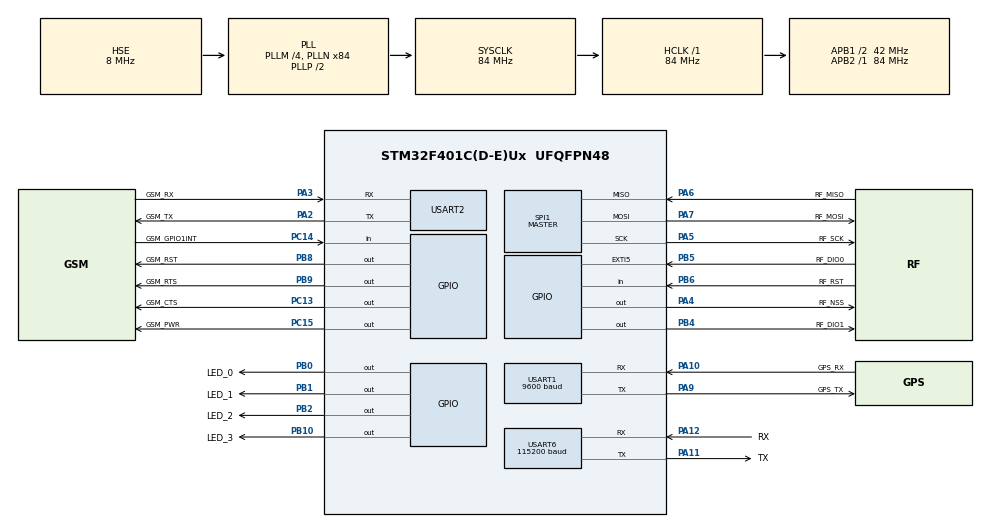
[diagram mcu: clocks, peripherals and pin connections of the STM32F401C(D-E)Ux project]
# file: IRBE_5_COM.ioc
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ADC1.Channel-4\#ChannelRegularConversion=ADC_CHANNEL_TEMPSENSOR
ADC1.NbrOfConversionFlag=1
ADC1.Rank-4\#ChannelRegularConversion=1
ADC1.SamplingTime-4\#ChannelRegularConversion=ADC_SAMPLETIME_3CYCLES
ADC1.master=1
Dma.Request0=USART1_RX
Dma.USART1_RX.0.Direction=DMA_PERIPH_TO_MEMORY
Dma.USART1_RX.0.FIFOMode=DMA_FIFOMODE_DISABLE
Dma.USART1_RX.0.Instance=DMA2_Stream2
Dma.USART1_RX.0.MemDataAlignment=DMA_MDATAALIGN_BYTE
Dma.USART1_RX.0.MemInc=DMA_MINC_ENABLE
Dma.USART1_RX.0.Mode=DMA_CIRCULAR
Dma.USART1_RX.0.PeriphDataAlignment=DMA_PDATAALIGN_BYTE
Dma.USART1_RX.0.PeriphInc=DMA_PINC_DISABLE
Dma.USART1_RX.0.Priority=DMA_PRIORITY_LOW
Mcu.Family=STM32F4
Mcu.Name=STM32F401C(D-E)Ux
Mcu.Package=UFQFPN48
NVIC.ADC_IRQn=true\:0\:0\:false\:false\:true\:true\:true\:true
NVIC.DMA2_Stream2_IRQn=true\:0\:0\:false\:false\:true\:false\:true\:true
NVIC.EXTI9_5_IRQn=true\:0\:0\:false\:false\:true\:true\:true\:true
NVIC.PriorityGroup=NVIC_PRIORITYGROUP_4
NVIC.TIM2_IRQn=true\:0\:0\:false\:false\:true\:true\:true\:true
NVIC.TIM3_IRQn=true\:0\:0\:false\:false\:true\:true\:true\:true
NVIC.TIM4_IRQn=true\:0\:0\:false\:false\:true\:true\:true\:true
NVIC.TIM5_IRQn=true\:0\:0\:false\:false\:true\:true\:true\:true
NVIC.USART1_IRQn=true\:1\:0\:true\:false\:true\:true\:true\:true
NVIC.USART2_IRQn=true\:1\:0\:true\:false\:true\:true\:true\:true
NVIC.USART6_IRQn=true\:0\:0\:false\:false\:true\:true\:true\:true
PA10.GPIO_Label=GPS_RX
PA10.Mode=Asynchronous
PA10.Signal=USART1_RX
PA11.GPIO_Label=TX
PA11.Mode=Asynchronous
PA11.Signal=USART6_TX
PA12.GPIO_Label=RX
PA12.Mode=Asynchronous
PA12.Signal=USART6_RX
PA13.GPIO_Label=SW_IO
PA13.Mode=Serial_Wire
PA13.Signal=SYS_JTMS-SWDIO
PA14.GPIO_Label=SW_CLK
PA14.Mode=Serial_Wire
PA14.Signal=SYS_JTCK-SWCLK
PA2.GPIO_Label=GSM_TX
PA2.Mode=Asynchronous
PA2.Signal=USART2_TX
PA3.GPIO_Label=GSM_RX
PA3.Mode=Asynchronous
PA3.Signal=USART2_RX
PA4.GPIO_Label=RF_NSS
PA4.Signal=GPIO_Output
PA5.GPIO_Label=RF_SCK
PA5.Mode=Full_Duplex_Master
PA5.Signal=SPI1_SCK
PA6.GPIO_Label=RF_MISO
PA6.Mode=Full_Duplex_Master
PA6.Signal=SPI1_MISO
PA7.GPIO_Label=RF_MOSI
PA7.Mode=Full_Duplex_Master
PA7.Signal=SPI1_MOSI
PA9.GPIO_Label=GPS_TX
PA9.Mode=Asynchronous
PA9.Signal=USART1_TX
PB0.GPIO_Label=LED_0
PB0.Signal=GPIO_Output
PB1.GPIO_Label=LED_1
PB1.Signal=GPIO_Output
PB10.GPIO_Label=LED_3
PB10.Signal=GPIO_Output
PB2.GPIO_Label=LED_2
PB2.Signal=GPIO_Output
PB4.GPIO_Label=RF_DIO1
PB4.Signal=GPIO_Output
PB5.GPIO_Label=RF_DIO0
PB5.Signal=GPXTI5
PB6.GPIO_Label=RF_RST
PB6.Signal=GPIO_Input
PB8.GPIO_Label=GSM_RST
PB8.GPIO_PuPd=GPIO_PULLDOWN
PB8.Signal=GPIO_Output
PB9.GPIO_Label=GSM_RTS
PB9.Signal=GPIO_Output
PC13-ANTI_TAMP.GPIO_Label=GSM_CTS
PC13-ANTI_TAMP.PinState=GPIO_PIN_SET
PC13-ANTI_TAMP.Signal=GPIO_Output
PC14-OSC32_IN.GPIO_Label=GSM_GPIO1INT
PC14-OSC32_IN.Signal=GPIO_Input
PC15-OSC32_OUT.GPIO_Label=GSM_PWR
PC15-OSC32_OUT.Signal=GPIO_Output
PH0\ -\ OSC_IN.Mode=HSE-External-Oscillator
PH0\ -\ OSC_IN.Signal=RCC_OSC_IN
PH1\ -\ OSC_OUT.Mode=HSE-External-Oscillator
PH1\ -\ OSC_OUT.Signal=RCC_OSC_OUT
ProjectManager.HeapSize=0x200
ProjectManager.StackSize=0x400
ProjectManager.TargetToolchain=STM32CubeIDE
RCC.48MHZClocksFreq_Value=42000000
RCC.AHBFreq_Value=84000000
RCC.APB1CLKDivider=RCC_HCLK_DIV2
RCC.APB1Freq_Value=42000000
RCC.APB1TimFreq_Value=84000000
RCC.APB2Freq_Value=84000000
RCC.APB2TimFreq_Value=84000000
RCC.CortexFreq_Value=84000000
RCC.HCLKFreq_Value=84000000
RCC.HSE_VALUE=8000000
RCC.HSI_VALUE=16000000
RCC.LSE_VALUE=32768
RCC.PLLM=4
RCC.PLLN=84
RCC.PLLSourceVirtual=RCC_PLLSOURCE_HSE
RCC.SYSCLKFreq_VALUE=84000000
RCC.SYSCLKSource=RCC_SYSCLKSOURCE_PLLCLK
RCC.VCOOutputFreq_Value=168000000
SPI1.BaudRatePrescaler=SPI_BAUDRATEPRESCALER_32
SPI1.Direction=SPI_DIRECTION_2LINES
SPI1.Mode=SPI_MODE_MASTER
SPI1.VirtualType=VM_MASTER
TIM2.Period=2625
TIM2.Prescaler=32000
TIM3.Period=1
TIM3.Prescaler=84
TIM4.Period=7875
TIM4.Prescaler=32000
TIM5.Period=384300
TIM5.Prescaler=65535
USART1.BaudRate=9600
USART1.VirtualMode=VM_ASYNC
USART2.VirtualMode=VM_ASYNC
USART6.BaudRate=115200
USART6.VirtualMode=VM_ASYNC
VP_ADC1_TempSens_Input.Mode=IN-TempSens
VP_CRC_VS_CRC.Mode=CRC_Activate
VP_TIM2_VS_ClockSourceINT.Mode=Internal
VP_TIM3_VS_ClockSourceINT.Mode=Internal
VP_TIM4_VS_ClockSourceINT.Mode=Internal
VP_TIM5_VS_ClockSourceINT.Mode=Internal
board=custom

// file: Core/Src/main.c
/* USER CODE BEGIN Header */
/**
  ******************************************************************************
  * @file           : main.c
  * @brief          : Main program body
  ******************************************************************************
  * @attention
  *
  * <h2><center>&copy; Copyright (c) 2021 STMicroelectronics.
  * All rights reserved.</center></h2>
  *
  * This software component is licensed by ST under BSD 3-Clause license,
  * the "License"; You may not use this file except in compliance with the
  * License. You may obtain a copy of the License at:
  *                        opensource.org/licenses/BSD-3-Clause
  *
  ******************************************************************************
  */
/* USER CODE END Header */
#include "main.h"

/* USER CODE BEGIN Includes */

#include "gsm.h"
#include "gps.h"
#include "lora.h"
#include "SX1278.h"

/* USER CODE END Includes */

 ADC_HandleTypeDef hadc1;

CRC_HandleTypeDef hcrc;

SPI_HandleTypeDef hspi1;

TIM_HandleTypeDef htim2;
TIM_HandleTypeDef htim3;
TIM_HandleTypeDef htim4;
TIM_HandleTypeDef htim5;

UART_HandleTypeDef huart1;
UART_HandleTypeDef huart2;
UART_HandleTypeDef huart6;
DMA_HandleTypeDef hdma_usart1_rx;

/* USER CODE BEGIN PV */
#define bit_set(val, bit_no) (((val) >> (bit_no)) & 1) // MACRO TO CHECH IF BIT IS SET
uint8_t uartRec = 0;
uint8_t rxBuf;
uint8_t cmd_tx_buffer[cmd_rx_buffer_size];
uint8_t cmd_rx_buffer[cmd_rx_buffer_size];
uint8_t tel_dataBuf[110];
uint8_t LTRS = 0b11111;
uint8_t NMBR = 0b11011;
uint32_t num = 0;
           //LETTERS    A		  B        C        D        E        F         G	     H        I        J        K        L        M        N        O        P        Q        R        S        T        U        V        W        X        Y        Z        space    NULL     CR       LF
uint8_t RTTY_LTRS[30] = {0b11000, 0b10011, 0b01110, 0b10010, 0b10000, 0b100110, 0b01011, 0b00101, 0b01100, 0b11010, 0b11110, 0b01001, 0b00111, 0b00110, 0b00011, 0b01101, 0b11101, 0b01010, 0b10100, 0b00001, 0b11100, 0b01111, 0b11001, 0b10111, 0b10101, 0b10001, 0b00100, 0b00000, 0b00010, 0b01000};
			//NUMBERS   -         ?        :        $        3        !         &        #        8        '        (        )        .        ,        9        0        1        4        BELL     5        7        ;        2        /        6        "
			//			1		  2		   3		4		 5		  6			7		 8		  9		   0		-		 $		 ,		   &		#		 '		  (			)		"		/		:		   ;		?		 ,		  .

/* USER CODE END PV */

void SystemClock_Config(void);
static void MX_GPIO_Init(void);
static void MX_USART1_UART_Init(void);
static void MX_USART2_UART_Init(void);
static void MX_USART6_UART_Init(void);
static void MX_DMA_Init(void);
static void MX_SPI1_Init(void);
static void MX_TIM2_Init(void);
static void MX_TIM3_Init(void);
static void MX_CRC_Init(void);
static void MX_TIM4_Init(void);
static void MX_TIM5_Init(void);
static void MX_ADC1_Init(void);

/* USER CODE BEGIN 0 */

// lora things

SX1278_hw_t SX1278_hw;
SX1278_t SX1278;

uint8_t vcomIvGPS = 1;
uint8_t vcomInGPS = 1;

uint8_t master = 1;
uint8_t ret = 0;

uint8_t loraBuf[10] = {0};
uint8_t buffer[15] = {0};
uint8_t message[] = "&&\"/1,2.3--mini--salamini--desinas--1.2,3/\"";
uint8_t receiving[8] = "##ready&";
uint8_t not_receiving[8] = "#nready&";
uint8_t ok_ack_message[8] = "#ok_act*";
uint8_t nok_ack_message[8] = "#nok_act";
uint8_t mode = 1;
uint32_t recvd = 0; // data received
uint32_t recve = 0; // errors received

uint8_t loraModuleIrq = 0;

// lora things

//Timer things

uint8_t timePas = 0;
uint32_t u_sec_delay = 0;
uint8_t gsmBuf = 0;
uint8_t gsmRec = 0;
uint8_t do_send_tm = 1;
uint8_t doSendGSM = 0;
uint8_t receive_data = 0;

uint8_t sec_listening = 0;
uint8_t sec_lora_rec = 0;

//Timer things

//UART

uint8_t UART6_RxIsData = 0;
uint8_t UART6_TxBuf[50] = {0};
uint8_t UART6_DataBuf[50] = {0};
uint8_t UART6_RxBuf[50] = {0};
uint8_t UART6_RxBytes = 4;

uint8_t hallo[512];
//UART

/* USER CODE END 0 */

int main(void)
{

  /* MCU Configuration--------------------------------------------------------*/

  /* Reset of all peripherals, Initializes the Flash interface and the Systick. */
  HAL_Init();

  /* Configure the system clock */
  SystemClock_Config();

  /* Initialize all configured peripherals */
  MX_GPIO_Init();
  MX_USART1_UART_Init();
  MX_USART2_UART_Init();
  MX_USART6_UART_Init();
  MX_DMA_Init();
  MX_SPI1_Init();
  MX_TIM2_Init();
  MX_TIM3_Init();
  MX_CRC_Init();
  MX_TIM4_Init();
  MX_TIM5_Init();
  MX_ADC1_Init();
  /* USER CODE BEGIN 2 */

  //HAL_TIM_Base_Start_IT(&htim2);
  //HAL_TIM_Base_Start_IT(&htim3);
  HAL_TIM_Base_Start_IT(&htim5);

  SX1278_hw_t SX1278_hw;
  SX1278_t SX1278;

 //initialize LoRa module
 SX1278_hw.dio0.port = RF_DIO0_GPIO_Port;
 SX1278_hw.dio0.pin = RF_DIO0_Pin;
 SX1278_hw.nss.port = RF_NSS_GPIO_Port;
 SX1278_hw.nss.pin = RF_NSS_Pin;
 SX1278_hw.reset.port = RF_RST_GPIO_Port;
 SX1278_hw.reset.pin = RF_RST_Pin;
 SX1278_hw.spi = &hspi1;
 SX1278.hw = &SX1278_hw;

// HAL_UART_Receive_IT(&huart1, &rxBuf, 1); // Works like a charm, but not as good as DMA
 //while(HAL_GPIO_ReadPin(RX_GPIO_Port, RX_Pin) == 0);
 //HAL_UART_Receive_IT(&huart6, UART6_RxBuf, UART6_RxBytes);

 HAL_GPIO_WritePin(RF_RST_GPIO_Port, RF_RST_Pin, GPIO_PIN_SET); // very important.

 SX1278_hw_Reset(&SX1278_hw);
//      SX1278_begin(&SX1278, SX1278_433MHZ, MIN_POWER, SX1278_LORA_SF_8, // air time ~ 495ms
//      SX1278_LORA_BW_20_8KHZ, 10);

  	//uint8_t GSM_STATE = 0;

  	GSM_Off();

  	if(GSM_InitUart(&huart2)){ // if failed, then gg
  		return 0;
  	}

	MODE_Set(&SX1278, mode);
	if(mode == 0){
		ret = SX1278_LoRaEntryRx(&SX1278, MIN_PACKETLENGTH, 2000);
	}else{
		ret = SX1278_FSK_EntryRx(&SX1278, 8);
	}

	 //HAL_UART_Receive_DMA(&huart6, &cmd_rx_buffer, cmd_rx_buffer_size);
	//	uint8_t check_sum;
	//	uint8_t check_sum_arr[4] = {0, 0, 0, 0};

	memset(tel_dataBuf, 0, sizeof(tel_dataBuf));

	//HAL_UART_Transmit_IT(&huart6, UART6_TxBuf, 2);
	//while(GPS_IsData() == GPS_NOK);
//	uint8_t year[4];
//	uint8_t month[2];
//	uint8_t date[2];
	uint8_t time[9];
//	GPS_GetYear(year);
//	GPS_GetMonth(month);
//	GPS_GetDate(date);
	GPS_GetTime(time);
//	UART6_TxBuf[0] = 0x02;
//	UART6_TxBuf[1] = 5;
//	UART6_TxBuf[2] = '*';
//	UART6_TxBuf[3] = crc_xor((char *)UART6_TxBuf);
//	HAL_UART_Transmit_IT(&huart6, UART6_TxBuf, 4);
//	memset(UART6_TxBuf, 0, sizeof(UART6_TxBuf));
//	UART6_TxBuf[0] = charToInt((char *)&(time[6]));
//	UART6_TxBuf[1] = charToInt((char *)&(time[3]));
//	UART6_TxBuf[2] = charToInt((char *)&(time[0]));
//	UART6_TxBuf[3] = '*';
//	UART6_TxBuf[4] = crc_xor((char *)UART6_TxBuf);
//	//snprintf(UART6_TxBuf, sizeof(UART6_TxBuf), "*%s%s%s", charToInt(&(time[6])), charToInt(&(time[3])), charToInt(&(time[0]))/*, charToInt(date), charToInt(month), charToInt(year)*/);
//	//snprintf(UART6_TxBuf + strlen((char *) UART6_TxBuf), sizeof(UART6_TxBuf) - strlen((char *) UART6_TxBuf), "*%s", crc_xor(UART6_TxBuf));
//	HAL_UART_Transmit_IT(&huart6, UART6_TxBuf, strlen((char *)UART6_TxBuf));
//	memset(UART6_TxBuf, 0, sizeof(UART6_TxBuf));
//	UART6_TxBuf[0] = 0x42;
//	UART6_TxBuf[1] = 0x88;
//	UART6_TxBuf[2] = '*';
//	UART6_TxBuf[3] = crc_xor((char *)UART6_TxBuf);
//	HAL_UART_Transmit_IT(&huart6, UART6_TxBuf, strlen((char *)UART6_TxBuf));
	memset(UART6_RxBuf, 0, sizeof(UART6_RxBuf));
	HAL_ADC_MspInit(&hadc1);

	if(GPS_init_Uart(&huart1)){
		return 0;
	}

	/* TODO with GPS module UART1
	 * - Commands to change GPS modes Portable -> Airborne [IMPORTANT] - done
	 * - Change baud rate from 9600 to 115200 [IMPORTANT] - done
	 * - Pull data from GPS module (FULL INIT) - optimize [IMPORTANT] -half done
	 * - GPS parsing [IMPORTANT]
	 * - Improve codes readability for next years successors [SECONDARY]
	 */

	/* TODO with UART6 module
	* - FIX communication with Borta dators [IMPORTANT] -- DONE
	* - IMPROVE READABILITY [IMPORTANT]
	* - Create functions for easier commanding (easy error checking and retries if crc wrong - once than raises issue flag) [IMPORTANT]
	*/

	/* TODO with COM PCB
	* - FIX UART connection between MCU and GPS module (wrongly connected RX - RX and TX - TX)
	* - Find different MCU (more available and not as powerful)
	*/

	uint8_t ubx_baud_set[28] = {0xB5, 0x62, 0x06, 0x00, 0x14, 0x00, 0x01,
	0x00, 0x00, 0x00, 0xD0, 0x08, 0x00, 0x00, 0x00, 0xC2, 0x01, 0x00, 0x07, 0x00, 0x03, 0x00, 0x00, 0x00,
	0x00, 0x00, 0x00, 0x00}; // UBX COMMAND TO SET GPS BAUDRATE FROM 9600 TO 115200 <- WORKS perfectly.

	ChecksumUBLOX(ubx_baud_set);
	HAL_UART_Transmit(&huart1, ubx_baud_set, 28, 1000);

	/* change baud rate for UART1 to 115200 */
	HAL_UART_Abort_IT(&huart1);
	HAL_UART_DeInit(&huart1);
	huart1.Init.BaudRate = 115200;
	if (HAL_UART_Init(&huart1) != HAL_OK) {
	    Error_Handler();
	}

	uint8_t ubx_cfg_nav5[] = {
	0xB5,0x62,0x06,0x24,0x24,0x00,
	0x01,0x00,0x06,0x00,0x00,0x00,0x00,0x00,0x00,
	0x00,0x00,0x00,0x00,0x00,0x00,0x00,0x00,0x00,
	0x00,0x00,0x00,0x00,0x00,0x00,0x00,0x00,0x00,
	0x00,0x00,0x00,0x00,0x00,0x00,0x00,0x00,0x00,
	0x00, 0x00}; //changes to airborne -- won't turn of after 13 km....
	ChecksumUBLOX(ubx_cfg_nav5);
	HAL_UART_Transmit(&huart1, ubx_cfg_nav5, sizeof(ubx_cfg_nav5), 1000);

//	if (HAL_UART_Receive_DMA(&huart1, hallo, 512) != HAL_OK) {
//		Error_Handler();
//	}
	if (HAL_UART_Receive_DMA(&huart1, &rxBuf, 1) != HAL_OK) {
		Error_Handler();
	}

	while(GPS_IsData() == GPS_NOK);
  /* USER CODE END 2 */

  /* Infinite loop */
  /* USER CODE BEGIN WHILE */
  while (1)
  {
	if(gsmRec){
		//HAL_GPIO_ReadPin(GSM_GPIO1INT_GPIO_Port, GSM_GPIO1INT_Pin) < parbauda vai GSM ir gatavs rukat
//		make_string_gsm((char *)gsm_dataBuf, sizeof(gsm_dataBuf));
//		if(GSM_Check_Signal()){
//			GSM_Message_Send(gsm_dataBuf, strlen((char *)gsm_dataBuf), 28654641);
//		}

		GSM_Off();

		gsmRec = 0;
		//HAL_TIM_Base_Start_IT(&htim5);
	}
	if(do_send_tm){ // TIME TO SEND TELEMETRY
		 for(uint8_t tries = 0; tries < 5; tries++){
			 UART6_RxBytes = 4;
			 HAL_UART_Receive_IT(&huart6, UART6_RxBuf, UART6_RxBytes);
			 memset(UART6_TxBuf, 0, sizeof(UART6_TxBuf));
			 UART6_TxBuf[0] = 0x03;
			 UART6_TxBuf[1] = 0x99;
			 UART6_TxBuf[2] = '*';
			 UART6_TxBuf[3] = crc_xor((char *)UART6_TxBuf);
			 HAL_UART_Transmit_IT(&huart6, UART6_TxBuf, UART6_RxBytes);
			 //snprintf(UART6_TxBuf + strlen((char *) UART6_TxBuf), sizeof(UART6_TxBuf) - strlen((char *) UART6_TxBuf), "*%d", crc_xor(UART6_TxBuf));
			 HAL_GPIO_WritePin(LED_0_GPIO_Port, LED_0_Pin, GPIO_PIN_SET);
			 make_string((char *)tel_dataBuf, sizeof(tel_dataBuf));
			 RTTY_Send(&SX1278, tel_dataBuf, strlen((char *)tel_dataBuf));
			 HAL_GPIO_WritePin(LED_0_GPIO_Port, LED_0_Pin, GPIO_PIN_RESET);
		 }
		 do_send_tm = 0;
		 receive_data = 1;
		 HAL_TIM_Base_Start_IT(&htim2);
	}
	if(receive_data){
		if(sec_listening == 0){
			SX1278_FSK_TxPacket(&SX1278, receiving, 8, 100);
			SX1278_FSK_EntryRx(&SX1278, 8);
			HAL_GPIO_WritePin(LED_3_GPIO_Port, LED_3_Pin, GPIO_PIN_SET);
		}else if(sec_listening >= 5){
			do_send_tm = 1;		// should send TM data
			receive_data = 0;
			sec_listening = 0;
			HAL_GPIO_WritePin(LED_3_GPIO_Port, LED_3_Pin, GPIO_PIN_RESET);
			SX1278_FSK_TxPacket(&SX1278, not_receiving, 8, 100);
			HAL_TIM_Base_Stop_IT(&htim2);
		}
		if(loraModuleIrq){
			SX1278_FSK_RxPacket(&SX1278, loraBuf, 8, 1000);
			if(strcmp((char *)loraBuf, "cutropeN") == 0){
				HAL_GPIO_WritePin(LED_2_GPIO_Port, LED_2_Pin, GPIO_PIN_SET);

				// SENDING COMMAND TO MCU TO CUT THE ROPE
				UART6_TxBuf[0] = 0x4f;
				UART6_TxBuf[1] = 0xcc;
				HAL_UART_Transmit_IT(&huart6, UART6_TxBuf, 2);
				// SENDING COMMAND TO MCU TO CUT THE ROPE

				SX1278_FSK_TxPacket(&SX1278, ok_ack_message, 8, 100);
			}else{
				SX1278_FSK_TxPacket(&SX1278, nok_ack_message, 8, 100);
			}
			loraModuleIrq = 0;
		}
	}
  }
    /* USER CODE END WHILE */

}

void SystemClock_Config(void)
{
  RCC_OscInitTypeDef RCC_OscInitStruct = {0};
  RCC_ClkInitTypeDef RCC_ClkInitStruct = {0};

  /** Configure the main internal regulator output voltage
  */
  __HAL_RCC_PWR_CLK_ENABLE();
  __HAL_PWR_VOLTAGESCALING_CONFIG(PWR_REGULATOR_VOLTAGE_SCALE2);

  /** Initializes the RCC Oscillators according to the specified parameters
  * in the RCC_OscInitTypeDef structure.
  */
  RCC_OscInitStruct.OscillatorType = RCC_OSCILLATORTYPE_HSE;
  RCC_OscInitStruct.HSEState = RCC_HSE_ON;
  RCC_OscInitStruct.PLL.PLLState = RCC_PLL_ON;
  RCC_OscInitStruct.PLL.PLLSource = RCC_PLLSOURCE_HSE;
  RCC_OscInitStruct.PLL.PLLM = 4;
  RCC_OscInitStruct.PLL.PLLN = 84;
  RCC_OscInitStruct.PLL.PLLP = RCC_PLLP_DIV2;
  RCC_OscInitStruct.PLL.PLLQ = 4;
  if (HAL_RCC_OscConfig(&RCC_OscInitStruct) != HAL_OK)
  {
    Error_Handler();
  }

  /** Initializes the CPU, AHB and APB buses clocks
  */
  RCC_ClkInitStruct.ClockType = RCC_CLOCKTYPE_HCLK|RCC_CLOCKTYPE_SYSCLK
                              |RCC_CLOCKTYPE_PCLK1|RCC_CLOCKTYPE_PCLK2;
  RCC_ClkInitStruct.SYSCLKSource = RCC_SYSCLKSOURCE_PLLCLK;
  RCC_ClkInitStruct.AHBCLKDivider = RCC_SYSCLK_DIV1;
  RCC_ClkInitStruct.APB1CLKDivider = RCC_HCLK_DIV2;
  RCC_ClkInitStruct.APB2CLKDivider = RCC_HCLK_DIV1;

  if (HAL_RCC_ClockConfig(&RCC_ClkInitStruct, FLASH_LATENCY_2) != HAL_OK)
  {
    Error_Handler();
  }
}

static void MX_ADC1_Init(void)
{

  ADC_ChannelConfTypeDef sConfig = {0};

  /** Configure the global features of the ADC (Clock, Resolution, Data Alignment and number of conversion)
  */
  hadc1.Instance = ADC1;
  hadc1.Init.ClockPrescaler = ADC_CLOCK_SYNC_PCLK_DIV4;
  hadc1.Init.Resolution = ADC_RESOLUTION_12B;
  hadc1.Init.ScanConvMode = DISABLE;
  hadc1.Init.ContinuousConvMode = DISABLE;
  hadc1.Init.DiscontinuousConvMode = DISABLE;
  hadc1.Init.ExternalTrigConvEdge = ADC_EXTERNALTRIGCONVEDGE_NONE;
  hadc1.Init.ExternalTrigConv = ADC_SOFTWARE_START;
  hadc1.Init.DataAlign = ADC_DATAALIGN_RIGHT;
  hadc1.Init.NbrOfConversion = 1;
  hadc1.Init.DMAContinuousRequests = DISABLE;
  hadc1.Init.EOCSelection = ADC_EOC_SINGLE_CONV;
  if (HAL_ADC_Init(&hadc1) != HAL_OK)
  {
    Error_Handler();
  }

  /** Configure for the selected ADC regular channel its corresponding rank in the sequencer and its sample time.
  */
  sConfig.Channel = ADC_CHANNEL_TEMPSENSOR;
  sConfig.Rank = 1;
  sConfig.SamplingTime = ADC_SAMPLETIME_3CYCLES;
  if (HAL_ADC_ConfigChannel(&hadc1, &sConfig) != HAL_OK)
  {
    Error_Handler();
  }

}

static void MX_CRC_Init(void)
{

  hcrc.Instance = CRC;
  if (HAL_CRC_Init(&hcrc) != HAL_OK)
  {
    Error_Handler();
  }

}

static void MX_SPI1_Init(void)
{

  /* SPI1 parameter configuration*/
  hspi1.Instance = SPI1;
  hspi1.Init.Mode = SPI_MODE_MASTER;
  hspi1.Init.Direction = SPI_DIRECTION_2LINES;
  hspi1.Init.DataSize = SPI_DATASIZE_8BIT;
  hspi1.Init.CLKPolarity = SPI_POLARITY_LOW;
  hspi1.Init.CLKPhase = SPI_PHASE_1EDGE;
  hspi1.Init.NSS = SPI_NSS_SOFT;
  hspi1.Init.BaudRatePrescaler = SPI_BAUDRATEPRESCALER_32;
  hspi1.Init.FirstBit = SPI_FIRSTBIT_MSB;
  hspi1.Init.TIMode = SPI_TIMODE_DISABLE;
  hspi1.Init.CRCCalculation = SPI_CRCCALCULATION_DISABLE;
  hspi1.Init.CRCPolynomial = 10;
  if (HAL_SPI_Init(&hspi1) != HAL_OK)
  {
    Error_Handler();
  }

}

static void MX_TIM2_Init(void)
{

  TIM_ClockConfigTypeDef sClockSourceConfig = {0};
  TIM_MasterConfigTypeDef sMasterConfig = {0};

  htim2.Instance = TIM2;
  htim2.Init.Prescaler = 32000;
  htim2.Init.CounterMode = TIM_COUNTERMODE_UP;
  htim2.Init.Period = 2625;
  htim2.Init.ClockDivision = TIM_CLOCKDIVISION_DIV1;
  htim2.Init.AutoReloadPreload = TIM_AUTORELOAD_PRELOAD_DISABLE;
  if (HAL_TIM_Base_Init(&htim2) != HAL_OK)
  {
    Error_Handler();
  }
  sClockSourceConfig.ClockSource = TIM_CLOCKSOURCE_INTERNAL;
  if (HAL_TIM_ConfigClockSource(&htim2, &sClockSourceConfig) != HAL_OK)
  {
    Error_Handler();
  }
  sMasterConfig.MasterOutputTrigger = TIM_TRGO_RESET;
  sMasterConfig.MasterSlaveMode = TIM_MASTERSLAVEMODE_DISABLE;
  if (HAL_TIMEx_MasterConfigSynchronization(&htim2, &sMasterConfig) != HAL_OK)
  {
    Error_Handler();
  }

}

static void MX_TIM3_Init(void)
{

  TIM_ClockConfigTypeDef sClockSourceConfig = {0};
  TIM_MasterConfigTypeDef sMasterConfig = {0};

  htim3.Instance = TIM3;
  htim3.Init.Prescaler = 84;
  htim3.Init.CounterMode = TIM_COUNTERMODE_UP;
  htim3.Init.Period = 1;
  htim3.Init.ClockDivision = TIM_CLOCKDIVISION_DIV1;
  htim3.Init.AutoReloadPreload = TIM_AUTORELOAD_PRELOAD_DISABLE;
  if (HAL_TIM_Base_Init(&htim3) != HAL_OK)
  {
    Error_Handler();
  }
  sClockSourceConfig.ClockSource = TIM_CLOCKSOURCE_INTERNAL;
  if (HAL_TIM_ConfigClockSource(&htim3, &sClockSourceConfig) != HAL_OK)
  {
    Error_Handler();
  }
  sMasterConfig.MasterOutputTrigger = TIM_TRGO_RESET;
  sMasterConfig.MasterSlaveMode = TIM_MASTERSLAVEMODE_DISABLE;
  if (HAL_TIMEx_MasterConfigSynchronization(&htim3, &sMasterConfig) != HAL_OK)
  {
    Error_Handler();
  }

}

static void MX_TIM4_Init(void)
{

  TIM_ClockConfigTypeDef sClockSourceConfig = {0};
  TIM_MasterConfigTypeDef sMasterConfig = {0};

  htim4.Instance = TIM4;
  htim4.Init.Prescaler = 32000;
  htim4.Init.CounterMode = TIM_COUNTERMODE_UP;
  htim4.Init.Period = 7875;
  htim4.Init.ClockDivision = TIM_CLOCKDIVISION_DIV1;
  htim4.Init.AutoReloadPreload = TIM_AUTORELOAD_PRELOAD_DISABLE;
  if (HAL_TIM_Base_Init(&htim4) != HAL_OK)
  {
    Error_Handler();
  }
  sClockSourceConfig.ClockSource = TIM_CLOCKSOURCE_INTERNAL;
  if (HAL_TIM_ConfigClockSource(&htim4, &sClockSourceConfig) != HAL_OK)
  {
    Error_Handler();
  }
  sMasterConfig.MasterOutputTrigger = TIM_TRGO_RESET;
  sMasterConfig.MasterSlaveMode = TIM_MASTERSLAVEMODE_DISABLE;
  if (HAL_TIMEx_MasterConfigSynchronization(&htim4, &sMasterConfig) != HAL_OK)
  {
    Error_Handler();
  }

}

static void MX_TIM5_Init(void)
{

  TIM_ClockConfigTypeDef sClockSourceConfig = {0};
  TIM_MasterConfigTypeDef sMasterConfig = {0};

  htim5.Instance = TIM5;
  htim5.Init.Prescaler = 65535;
  htim5.Init.CounterMode = TIM_COUNTERMODE_UP;
  htim5.Init.Period = 384300;
  htim5.Init.ClockDivision = TIM_CLOCKDIVISION_DIV1;
  htim5.Init.AutoReloadPreload = TIM_AUTORELOAD_PRELOAD_DISABLE;
  if (HAL_TIM_Base_Init(&htim5) != HAL_OK)
  {
    Error_Handler();
  }
  sClockSourceConfig.ClockSource = TIM_CLOCKSOURCE_INTERNAL;
  if (HAL_TIM_ConfigClockSource(&htim5, &sClockSourceConfig) != HAL_OK)
  {
    Error_Handler();
  }
  sMasterConfig.MasterOutputTrigger = TIM_TRGO_RESET;
  sMasterConfig.MasterSlaveMode = TIM_MASTERSLAVEMODE_DISABLE;
  if (HAL_TIMEx_MasterConfigSynchronization(&htim5, &sMasterConfig) != HAL_OK)
  {
    Error_Handler();
  }

}

static void MX_USART1_UART_Init(void)
{

  huart1.Instance = USART1;
  huart1.Init.BaudRate = 9600;
  huart1.Init.WordLength = UART_WORDLENGTH_8B;
  huart1.Init.StopBits = UART_STOPBITS_1;
  huart1.Init.Parity = UART_PARITY_NONE;
  huart1.Init.Mode = UART_MODE_TX_RX;
  huart1.Init.HwFlowCtl = UART_HWCONTROL_NONE;
  huart1.Init.OverSampling = UART_OVERSAMPLING_16;
  if (HAL_UART_Init(&huart1) != HAL_OK)
  {
    Error_Handler();
  }

}

static void MX_USART2_UART_Init(void)
{

  huart2.Instance = USART2;
  huart2.Init.BaudRate = 115200;
  huart2.Init.WordLength = UART_WORDLENGTH_8B;
  huart2.Init.StopBits = UART_STOPBITS_1;
  huart2.Init.Parity = UART_PARITY_NONE;
  huart2.Init.Mode = UART_MODE_TX_RX;
  huart2.Init.HwFlowCtl = UART_HWCONTROL_NONE;
  huart2.Init.OverSampling = UART_OVERSAMPLING_16;
  if (HAL_UART_Init(&huart2) != HAL_OK)
  {
    Error_Handler();
  }

}

static void MX_USART6_UART_Init(void)
{

  huart6.Instance = USART6;
  huart6.Init.BaudRate = 115200;
  huart6.Init.WordLength = UART_WORDLENGTH_8B;
  huart6.Init.StopBits = UART_STOPBITS_1;
  huart6.Init.Parity = UART_PARITY_NONE;
  huart6.Init.Mode = UART_MODE_TX_RX;
  huart6.Init.HwFlowCtl = UART_HWCONTROL_NONE;
  huart6.Init.OverSampling = UART_OVERSAMPLING_16;
  if (HAL_UART_Init(&huart6) != HAL_OK)
  {
    Error_Handler();
  }

}

static void MX_DMA_Init(void)
{

  /* DMA controller clock enable */
  __HAL_RCC_DMA2_CLK_ENABLE();

  /* DMA interrupt init */
  /* DMA2_Stream2_IRQn interrupt configuration */
  HAL_NVIC_SetPriority(DMA2_Stream2_IRQn, 0, 0);
  HAL_NVIC_EnableIRQ(DMA2_Stream2_IRQn);

}

static void MX_GPIO_Init(void)
{
  GPIO_InitTypeDef GPIO_InitStruct = {0};

  /* GPIO Ports Clock Enable */
  __HAL_RCC_GPIOC_CLK_ENABLE();
  __HAL_RCC_GPIOH_CLK_ENABLE();
  __HAL_RCC_GPIOA_CLK_ENABLE();
  __HAL_RCC_GPIOB_CLK_ENABLE();

  /*Configure GPIO pin Output Level */
  HAL_GPIO_WritePin(GSM_CTS_GPIO_Port, GSM_CTS_Pin, GPIO_PIN_SET);

  /*Configure GPIO pin Output Level */
  HAL_GPIO_WritePin(GSM_PWR_GPIO_Port, GSM_PWR_Pin, GPIO_PIN_RESET);

  /*Configure GPIO pin Output Level */
  HAL_GPIO_WritePin(RF_NSS_GPIO_Port, RF_NSS_Pin, GPIO_PIN_RESET);

  /*Configure GPIO pin Output Level */
  HAL_GPIO_WritePin(GPIOB, LED_0_Pin|LED_1_Pin|LED_2_Pin|LED_3_Pin
                          |RF_DIO1_Pin|GSM_RST_Pin|GSM_RTS_Pin, GPIO_PIN_RESET);

  /*Configure GPIO pins : GSM_CTS_Pin GSM_PWR_Pin */
  GPIO_InitStruct.Pin = GSM_CTS_Pin|GSM_PWR_Pin;
  GPIO_InitStruct.Mode = GPIO_MODE_OUTPUT_PP;
  GPIO_InitStruct.Pull = GPIO_NOPULL;
  GPIO_InitStruct.Speed = GPIO_SPEED_FREQ_LOW;
  HAL_GPIO_Init(GPIOC, &GPIO_InitStruct);

  /*Configure GPIO pin : GSM_GPIO1INT_Pin */
  GPIO_InitStruct.Pin = GSM_GPIO1INT_Pin;
  GPIO_InitStruct.Mode = GPIO_MODE_INPUT;
  GPIO_InitStruct.Pull = GPIO_NOPULL;
  HAL_GPIO_Init(GSM_GPIO1INT_GPIO_Port, &GPIO_InitStruct);

  /*Configure GPIO pin : RF_NSS_Pin */
  GPIO_InitStruct.Pin = RF_NSS_Pin;
  GPIO_InitStruct.Mode = GPIO_MODE_OUTPUT_PP;
  GPIO_InitStruct.Pull = GPIO_NOPULL;
  GPIO_InitStruct.Speed = GPIO_SPEED_FREQ_LOW;
  HAL_GPIO_Init(RF_NSS_GPIO_Port, &GPIO_InitStruct);

  /*Configure GPIO pins : LED_0_Pin LED_1_Pin LED_2_Pin LED_3_Pin
                           RF_DIO1_Pin GSM_RTS_Pin */
  GPIO_InitStruct.Pin = LED_0_Pin|LED_1_Pin|LED_2_Pin|LED_3_Pin
                          |RF_DIO1_Pin|GSM_RTS_Pin;
  GPIO_InitStruct.Mode = GPIO_MODE_OUTPUT_PP;
  GPIO_InitStruct.Pull = GPIO_NOPULL;
  GPIO_InitStruct.Speed = GPIO_SPEED_FREQ_LOW;
  HAL_GPIO_Init(GPIOB, &GPIO_InitStruct);

  /*Configure GPIO pin : RF_DIO0_Pin */
  GPIO_InitStruct.Pin = RF_DIO0_Pin;
  GPIO_InitStruct.Mode = GPIO_MODE_IT_RISING;
  GPIO_InitStruct.Pull = GPIO_NOPULL;
  HAL_GPIO_Init(RF_DIO0_GPIO_Port, &GPIO_InitStruct);

  /*Configure GPIO pin : RF_RST_Pin */
  GPIO_InitStruct.Pin = RF_RST_Pin;
  GPIO_InitStruct.Mode = GPIO_MODE_INPUT;
  GPIO_InitStruct.Pull = GPIO_NOPULL;
  HAL_GPIO_Init(RF_RST_GPIO_Port, &GPIO_InitStruct);

  /*Configure GPIO pin : GSM_RST_Pin */
  GPIO_InitStruct.Pin = GSM_RST_Pin;
  GPIO_InitStruct.Mode = GPIO_MODE_OUTPUT_PP;
  GPIO_InitStruct.Pull = GPIO_PULLDOWN;
  GPIO_InitStruct.Speed = GPIO_SPEED_FREQ_LOW;
  HAL_GPIO_Init(GSM_RST_GPIO_Port, &GPIO_InitStruct);

  /* EXTI interrupt init*/
  HAL_NVIC_SetPriority(EXTI9_5_IRQn, 0, 0);
  HAL_NVIC_EnableIRQ(EXTI9_5_IRQn);

}

/* USER CODE BEGIN 4 */

void CMD_Send(SX1278_t * module, uint8_t *buf, uint8_t len, uint8_t cmd){
	uint8_t temp[13] = {0};
	temp[0] = cmd;
	memcpy(temp + 1, buf, len);

	if(mode == 0){
		LORA_Send(module, temp, len);
		SX1278_LoRaEntryRx(module, MIN_PACKETLENGTH, 2000);
		HAL_Delay(10);
	}else{
		SX1278_FSK_TxPacket(module, temp, len, 100);
		SX1278_FSK_EntryRx(module, MIN_PACKETLENGTH);
		HAL_Delay(10);
	}
}

uint8_t CMD_Parse(uint8_t *buf, uint8_t len){
	uint8_t cmd = buf[0];
	if(cmd == COM_ECHO){					// echo mode resend whatever received
		memcpy(buffer, buf, ret);
		buf[3] = buf[3] + 1;
		return CMD_SEND;
	}else if(cmd == COM_SNAKE){		// mode change command change to whatever mode requested
		for(uint8_t i = 0; i < 14; i++){
			buf[1 + i] = i;
		}
		MODE_Set(&SX1278, mode);
		return CMD_OK;
	}else{
		return CMD_ERROR;
	}
}

void HAL_UART_RxCpltCallback(UART_HandleTypeDef *huart){
	if(huart == &huart1){
		//HAL_UART_Receive_IT(&huart1, &rxBuf, 1);
		//HAL_UART_Receive_DMA(&huart1, hallo, 512);
		//GPS_Receive(hallo);
		GPS_Receive(rxBuf);
		HAL_UART_Receive_DMA(&huart1, &rxBuf, 1);
	}

	if(huart == &huart6){
			uint8_t Command = UART6_RxBuf[0];
			uint8_t Parameter = UART6_RxBuf[1];

			if (UART6_RxIsData == 1){
				UART6_RxIsData = 0;
				UART6_RxIsData = 0;
				UART6_RxBytes = 4;
				uint8_t msg_len = strlen((char *)UART6_RxBuf);

				if(UART6_RxBuf[msg_len-1] == crc_xor((char *)UART6_RxBuf))
						for (uint8_t i = 0; i < (msg_len-2); i++)
							UART6_DataBuf[i] = UART6_RxBuf[i];

				//memset(UART6_RxBuf, 0, sizeof(UART6_RxBuf));
				HAL_UART_Receive_IT(&huart6, UART6_RxBuf, UART6_RxBytes);

			}else{
				switch(Command){
					case 0x00:

					break;
					// Receive data from MCU
					case 0x02:
						if(crc_xor((char *)UART6_RxBuf) == UART6_RxBuf[3]){
							UART6_RxIsData = 1;
							UART6_RxBytes = UART6_RxBuf[1];
						}else{
							UART6_RxBytes = 4;
							 UART6_TxBuf[0] = 0x03;
							 UART6_TxBuf[1] = 0x99;
							 UART6_TxBuf[2] = '*';
							 UART6_TxBuf[3] = crc_xor((char *)UART6_TxBuf);
							HAL_UART_Transmit_IT(&huart6, UART6_TxBuf, 4);
							//memset(UART6_RxBuf, 0, sizeof(UART6_RxBuf));
						}
						HAL_UART_Receive_IT(&huart6, UART6_RxBuf, UART6_RxBytes);
					break;
					// MCU requests data
					case 0x03:
						UART6_TxBuf[0] = 0x02;
						UART6_TxBuf[1] = Parameter;
					break;
					default:
						//nothing happens
						//HAL_UART_Receive_IT(&huart6, UART6_RxBuf, UART6_RxBytes);
					break;
				}
			}
			if(Command != 0x02){
				UART6_RxBytes = 4;
				//memset(UART6_RxBuf, 0, sizeof(UART6_RxBuf));
				HAL_UART_Receive_IT(&huart6, UART6_RxBuf, UART6_RxBytes);
			}
			 memset(UART6_RxBuf, 0, sizeof(UART6_RxBuf));
	}
}

void HAL_UART_ErrorCallback(UART_HandleTypeDef *huart){
	if(huart == &huart1){
		//HAL_UART_Receive_IT(&huart1, &rxBuf, 1);
		//HAL_UART_Receive_DMA(&huart1, hallo, 512);
		HAL_UART_Receive_DMA(&huart1, &rxBuf, 1);
	}
	if(huart == &huart6){
		memset(UART6_RxBuf, 0, sizeof(UART6_RxBuf));
		HAL_UART_Receive_IT(&huart6, UART6_RxBuf, UART6_RxBytes);
	}
}

void MODE_Set(SX1278_t * module, uint8_t mode){
	  switch(mode){
		  case 0:	// switch to LoRa
			  SX1278_begin(module, SX1278_433MHZ, MIN_POWER, SX1278_LORA_SF_8, // air time ~ 495ms
					  SX1278_LORA_BW_20_8KHZ, MIN_PACKETLENGTH);
		  break;

		  case 1:	// switch to FSK
			  SX1278_FSK_Config(module);
		  break;

		  case 2: // RTTY config
			  SX1278_RTTY_Config(module);
		  break;

		  default: // lets ignore that one
		  break;
	  }
}

void HAL_TIM_PeriodElapsedCallback(TIM_HandleTypeDef *htim){
	if(htim->Instance == TIM2){
		sec_listening++;
	}

	if(htim->Instance == TIM3){
		u_sec_delay = 1;
	}

	if(htim->Instance == TIM4){
		HAL_TIM_Base_Stop_IT(&htim4);
		gsmRec = 1;
	}
	if(htim->Instance == TIM5){
		HAL_TIM_Base_Stop_IT(&htim5);
		GSM_On();
		HAL_TIM_Base_Start_IT(&htim4);
	}
}

void HAL_GPIO_EXTI_Callback(uint16_t pin){
	loraModuleIrq = 1;
}

void RTTY_Send(SX1278_t * module, uint8_t *buf, uint8_t len){
	uint16_t baudTimeout = 20;
	uint8_t i;
	uint8_t curChar = 0;

	SX1278_RTTY_Config(module);

	for(i = 0; i < len; i++){
		curChar = buf[i];
		RTTY_SendSingle(module, curChar, baudTimeout);
	}
}

void RTTY_SendSingle(SX1278_t * module, uint8_t buf, uint8_t timeout){
	SX1278_RTTY_WriteLow(module); //start bit
	HAL_Delay(timeout);
	for(uint8_t j = 0; j < 8; j++){
		if(bit_set(buf, j)){
			SX1278_RTTY_WriteHigh(module);
		}else{
			SX1278_RTTY_WriteLow(module);
		}
		HAL_Delay(timeout);
	}
	SX1278_RTTY_WriteHigh(module); // stop bit
	HAL_Delay(30);
	SX1278_RTTY_Stop(module);
}

uint8_t crc_xor(char *string){
	uint8_t XOR = 0;
	for(uint8_t i = 0; string[i] != '*' && i < strlen(string); i++){
		XOR = XOR ^ string[i];
	}
	return XOR;
}

void make_string(char *s, uint8_t size){

	uint8_t time[11];
	uint8_t lat[10];
	uint8_t lon[10];
	uint8_t hei[9];
	uint8_t spe[7];

	//CLEAR TEMP BUFFERS (SOMETIMES IT HAS INFORMATION IN IT, BECAUSE IT USES MEMORY LOCATION THAT WERE TEMP USED FOR OTHER STUFF) ONLY WHEN THERE IS +1 elemt in array
	memset(time, 0, sizeof(time));
	memset(lat, 0, sizeof(lat));
	memset(lon, 0, sizeof(lon));
	memset(hei, 0, sizeof(hei));
	memset(spe, 0, sizeof(spe));

	//Get all params from satalites data
	GPS_GetTime(time);
	GPS_GetLat(lat);
	GPS_GetLon(lon);
	GPS_GetHei(hei);
	GPS_GetSpe(spe);

	snprintf(s, size, "\r\n$$IRBE5,%li,%s,%s,%s,%s,%s,%s,%.2f", ++num, time, lat, lon, hei, spe, UART6_DataBuf, temp_mcu());
	uint8_t l = strlen((char *)s);
	char *ptr = strrchr(s, '$');
	if(snprintf(s + l, size - l, "*%02x\r\n", crc_xor(++ptr))  > size - 4 - 1){
		//buffer overflow
		return;
	}
}

void make_string_gsm(char *s, uint8_t size){

	uint8_t lat[10];
	uint8_t lon[10];
	uint8_t hei[9];

	//CLEAR TEMP BUFFERS (SOMETIMES IT HAS INFORMATION IN IT, BECAUSE IT USES MEMORY LOCATION THAT WERE TEMP USED FOR OTHER STUFF) ONLY WHEN THERE IS +1 elemt in array
	memset(lat, 0, sizeof(lat));
	memset(lon, 0, sizeof(lon));
	memset(hei, 0, sizeof(hei));

	//Get all params from satalites data
	GPS_GetLat(lat);
	GPS_GetLon(lon);
	GPS_GetHei(hei);

	snprintf(s, size, "Latitude:%s\nLongitude:%s\nHeight ASL:%s",lat, lon, hei);
}

float temp_mcu(void){
	float TemperatureValue = 0;
	uint16_t value = 0;
	if (HAL_ADC_Start(&hadc1) != HAL_OK){
		return HAL_ERROR;
	}
	if (HAL_ADC_PollForConversion(&hadc1, HAL_MAX_DELAY) != HAL_OK) {
		return HAL_ERROR;
	}
	if((HAL_ADC_GetState(&hadc1) & HAL_ADC_STATE_REG_EOC) !=  HAL_ADC_STATE_REG_EOC){
		return HAL_ERROR;
	}
	value = HAL_ADC_GetValue(&hadc1);
	TemperatureValue = value & 0x0fff;// 12 bit result
	TemperatureValue *= 3300;
	TemperatureValue /= 0xfff; //Reading in mV
	TemperatureValue /= 1000.0; //Reading in Volts
	TemperatureValue -= 0.760; // Subtract the reference voltage at 25�C
	TemperatureValue /= .0025; // Divide by slope 2.5mV
	TemperatureValue += 25.0; // Add the 25�C
	return TemperatureValue;
  }
uint8_t charToInt(char* c){
	uint8_t num = {0};
	for(uint8_t i = 0; 2 > i; i++){
		if(i == 0){
			num += (c[i] - '0') * 10;
		}else{
			num += c[i] - '0';
		}
	}
	return num;
}

/* USER CODE END 4 */

void Error_Handler(void)
{
  __disable_irq();
  while (1)
  {
  }
}
